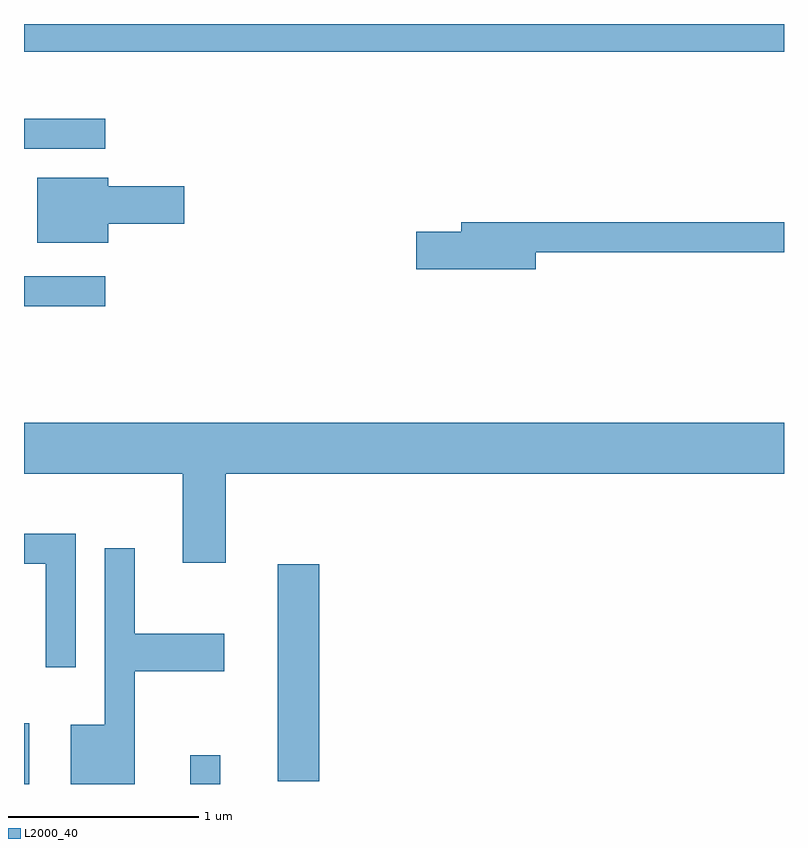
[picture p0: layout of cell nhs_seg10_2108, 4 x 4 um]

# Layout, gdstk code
import gdstk
lib = gdstk.Library(unit=1e-6, precision=1e-09)
def R(c, l, rs):  # rectangles x0, y0, x1, y1
    for r in rs: c.add(gdstk.rectangle(r[:2], r[2:], *l))
def P(c, l, *ps):  # polygons
    for p in ps: c.add(gdstk.Polygon(p, *l))
L2000_40 = (2000, 40)

nhs_seg10_2108 = lib.new_cell('nhs_seg10_2108')
R(nhs_seg10_2108, L2000_40, [(247.611,2094.522,247.639,2094.843), (248.486,2094.522,248.644,2094.673), (248.946,2094.536,249.164,2095.679), (247.611,2097.036,248.038,2097.194), (247.611,2097.866,248.038,2098.024), (247.611,2098.376,251.611,2098.522)])
P(nhs_seg10_2108, L2000_40, [(248.054,2097.471),(248.454,2097.471),(248.454,2097.669),(248.054,2097.669),(248.054,2097.714),(247.681,2097.714),(247.681,2097.371),(248.054,2097.371)],
  [(250.304,2097.321),(251.611,2097.321),(251.611,2097.479),(249.911,2097.479),(249.911,2097.429),(249.676,2097.429),(249.676,2097.231),(250.304,2097.231)],
  [(248.674,2096.156),(251.611,2096.156),(251.611,2096.424),(247.611,2096.424),(247.611,2096.156),(248.446,2096.156),(248.446,2095.686),(248.674,2095.686)],
  [(247.884,2095.839),(247.611,2095.839),(247.611,2095.681),(247.726,2095.681),(247.726,2095.137),(247.884,2095.137)],
  [(248.194,2095.116),(248.664,2095.116),(248.664,2095.314),(248.194,2095.314),(248.194,2095.762),(248.036,2095.762),(248.036,2094.834),(247.856,2094.834),(247.856,2094.522),(248.194,2094.522)])

lib.write_gds('nhs_seg10_2108.gds')
